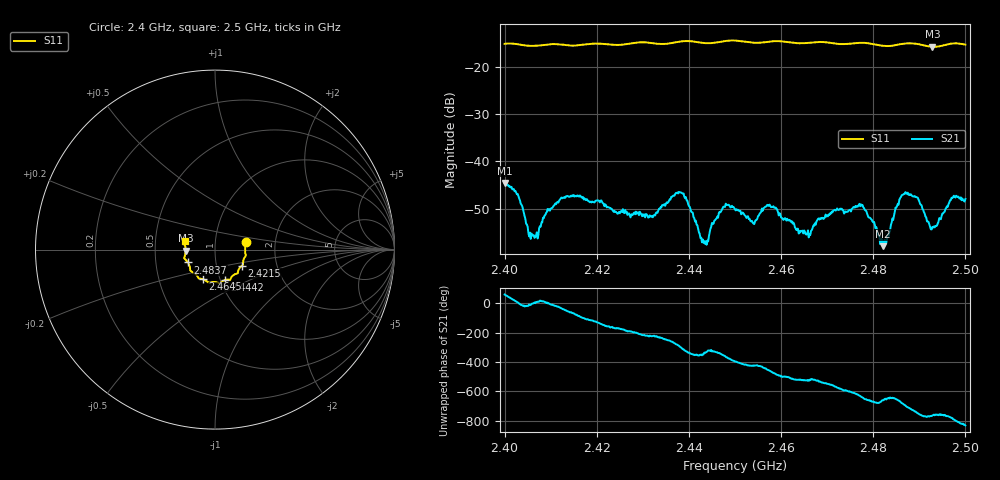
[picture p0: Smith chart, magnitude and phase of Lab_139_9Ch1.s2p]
# Hz S RI R 50
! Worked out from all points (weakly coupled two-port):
!   601 points, 2.4 GHz to 2.5 GHz, reference 50 ohm
!   highest |S21| = -44.58 dB at 2.4 GHz (marker M1); lowest = -58.0 dB at 2.4822 GHz (marker M2)
!   lowest |S11| = -15.7 dB at 2.4928 GHz (marker M3), VSWR 1.39, Z = 35.9 - j0.388 ohm
!   |S11| at or under -10 dB: start of sweep to end of sweep
!   S12 and S22 are empty: the file has one direction only
!   S11 on the Smith chart (normalised r, x): 2.4 GHz: 1.41, +0.12; 2.4215 GHz: 1.33, -0.25; 2.4442 GHz: 1.05, -0.37; 2.4645 GHz: 0.83, -0.29; 2.4837 GHz: 0.73, -0.11; 2.5 GHz: 0.71, +0.07
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2.4e9  0.1714 0.0402  0.003 0.00509  0 0  0 0
2.406167e9  0.1674 -0.00328  0.00166 -4.5e-05  0 0  0 0
2.411833e9  0.1701 -0.0365  0.00343 -0.00171  0 0  0 0
2.416667e9  0.1567 -0.0698  -0.000368 -0.00414  0 0  0 0
2.4215e9  0.1512 -0.0897  -0.00306 -0.00182  0 0  0 0
2.433333e9  0.1085 -0.1385  -0.00184 0.00236  0 0  0 0
2.438333e9  0.0857 -0.1659  0.00252 0.00394  0 0  0 0
2.444167e9  0.0564 -0.1693  0.00112 0.000876  0 0  0 0
2.447667e9  0.0318 -0.185  0.0033 0.000157  0 0  0 0
2.45e9  0.0252 -0.189  0.00245 -0.0019  0 0  0 0
2.453833e9  0.00313 -0.181  0.000925 -0.00205  0 0  0 0
2.458e9  -0.0282 -0.1844  -0.00107 -0.00311  0 0  0 0
2.4645e9  -0.0658 -0.1659  -0.00176 -0.000501  0 0  0 0
2.466667e9  -0.0827 -0.1621  -0.00171 -0.000759  0 0  0 0
2.477333e9  -0.1362 -0.1185  0.00033 0.00349  0 0  0 0
2.482167e9  -0.1431 -0.0876  0.000651 0.00108  0 0  0 0
2.483333e9  -0.1489 -0.0749  0.000415 0.00155  0 0  0 0
2.483667e9  -0.1511 -0.0715  0.000379 0.00181  0 0  0 0
2.487e9  -0.1702 -0.0509  0.00435 0.00184  0 0  0 0
2.492833e9  -0.1635 -0.00525  0.00143 -0.00143  0 0  0 0
2.497167e9  -0.1737 0.0362  0.00186 -0.00362  0 0  0 0
2.5e9  -0.1651 0.0505  -0.00154 -0.00368  0 0  0 0
